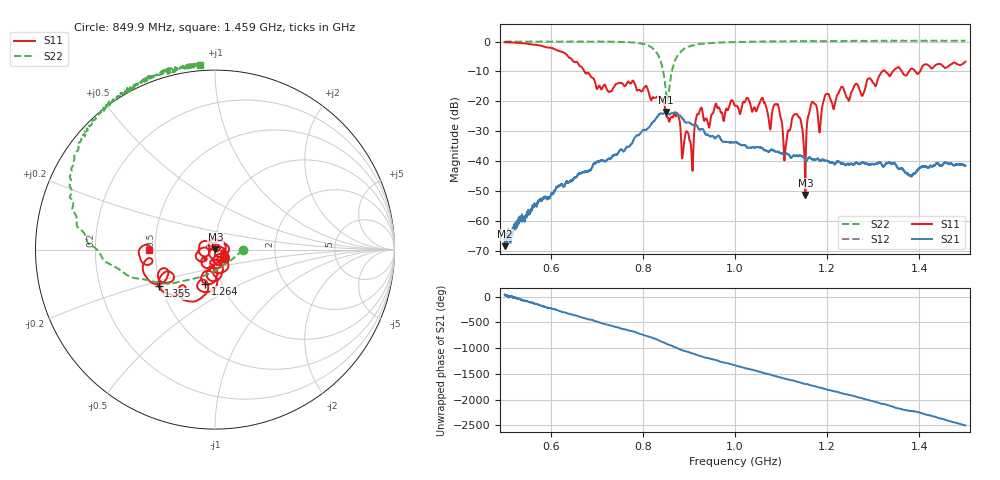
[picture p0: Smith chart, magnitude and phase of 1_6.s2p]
!Keysight Technologies,N5242B,MY48420860,A.13.80.08
!Date: Saturday, September 26, 2020 13:27:07
!Correction: S11(Full 2 Port(1,2))
!S21(Full 2 Port(1,2))
!S12(Full 2 Port(1,2))
!S22(Full 2 Port(1,2))
!S2P File: Measurements: S11, S21, S12, S22:
# Hz S  dB  R 50
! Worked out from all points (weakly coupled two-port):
!   2650 points, 500 MHz to 1.5 GHz, reference 50 ohm
!   highest |S21| = -23.49 dB at 849.2 MHz (marker M1); lowest = -68.4 dB at 501.1 MHz (marker M2)
!   lowest |S11| = -51.2 dB at 1.153 GHz (marker M3), VSWR 1.01, Z = 50.3 + j0.0859 ohm
!   |S11| at or under -10 dB: 673.5 MHz to 1.319 GHz (645.6 MHz wide, 64.8 % of centre); 1.327 GHz to 1.342 GHz (15.62 MHz wide, 1.17 % of centre); 1.362 GHz to 1.377 GHz (15.23 MHz wide, 1.11 % of centre) (the widest 3 of 4)
!   |S22| runs from -20.1 to 0.4 dB; largest |S21 - S12| = 0.00041
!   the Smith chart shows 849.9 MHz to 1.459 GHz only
!   S11 on the Smith chart (normalised r, x): 849.9 MHz: 1.11, -0.09; 1.264 GHz: 0.84, -0.33; 1.355 GHz: 0.49, -0.23; 1.459 GHz: 0.46, -0.00
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5e8  -0.23 -166.2  -66.36 38.2  -66.39 34.7  -0.01 147.3
5.011325e8  -0.24 -166.8  -68.35 27.3  -63.54 32.1  -0.01 147.3
6.045678e8  -2.25 126.5  -50.62 117.2  -50.94 119.0  -0.01 139.1
6.668554e8  -8.43 79.1  -43.85 -44.5  -43.78 -44.6  -0.02 132.8
7.997357e8  -16.29 50.1  -29.67 -22.4  -29.70 -22.5  -0.81 101.6
8.337108e8  -18.35 8.9  -24.61 -126.2  -24.64 -126.3  -4.66 64.5
8.491884e8  -22.86 -36.2  -23.49 171.0  -23.52 171.0  -15.26 7.0
8.499434e8  -23.71 -36.6  -23.50 167.2  -23.52 167.3  -16.26 -0.3
9.05436e8  -36.85 -38.7  -27.56 -18.9  -27.57 -18.8  -1.34 160.3
9.231786e8  -23.20 25.4  -29.42 -69.9  -29.42 -70.1  -0.86 152.2
1.000189e9  -21.49 -100.3  -33.58 105.3  -33.67 105.1  -0.14 135.5
1.090411e9  -21.05 171.5  -36.83 -111.8  -36.87 -111.5  0.09 124.8
1.108909e9  -36.62 171.4  -37.57 -154.8  -37.64 -154.5  0.06 123.3
1.134202e9  -24.24 16.5  -38.08 147.2  -38.10 147.4  0.16 121.2
1.152699e9  -51.20 18.1  -39.68 99.2  -39.77 99.0  0.07 118.8
1.166667e9  -20.31 -39.8  -39.36 71.2  -39.33 70.9  0.07 118.0
1.183654e9  -30.37 -60.4  -39.85 30.8  -39.83 30.9  0.18 116.4
1.264062e9  -14.11 -105.6  -40.51 -149.4  -40.62 -149.9  0.26 110.6
1.333522e9  -11.14 -133.5  -40.50 46.2  -40.40 45.3  0.33 104.6
1.355417e9  -8.57 -147.0  -42.71 -16.0  -42.58 -15.0  0.29 102.6
1.458852e9  -8.69 -179.6  -40.47 119.0  -40.48 118.6  0.27 94.6
1.5e9  -6.73 167.9  -41.55 16.7  -41.57 17.0  0.25 91.2
